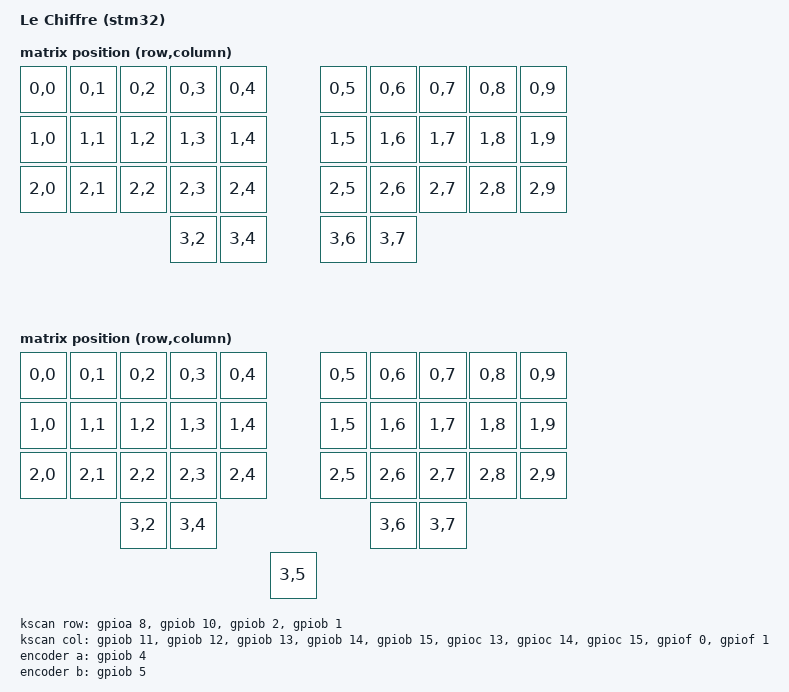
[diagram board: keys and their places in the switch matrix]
/*
 * Copyright (c) 2020 The ZMK Contributors
 *
 * SPDX-License-Identifier: MIT
 */

/dts-v1/;
#include <st/f0/stm32f072Xb.dtsi>
#include <st/f0/stm32f072v(8-b)tx-pinctrl.dtsi>

#include <dt-bindings/zmk/matrix_transform.h>

/ {
    model = "Le Chiffre (stm32)";
    compatible = "sporkus,le_chiffre_stm32", "st,stm32f072";

    chosen {
        zephyr,sram = &sram0;
        zephyr,flash = &flash0;
        zephyr,console = &cdc_acm_uart;
        zmk,kscan = &kscan;
        zmk,matrix_transform = &transform;
        zephyr,display = &oled;
        /* TODO: Enable once we support the IC for underglow
        zmk,underglow = &led_strip;
         */
    };

    transform: transform {
        compatible = "zmk,matrix-transform";
        rows = <4>;
        columns = <10>;

        map = <
        RC(0,0) RC(0,1) RC(0,2) RC(0,3) RC(0,4)     RC(0,5) RC(0,6) RC(0,7) RC(0,8) RC(0,9)
        RC(1,0) RC(1,1) RC(1,2) RC(1,3) RC(1,4)     RC(1,5) RC(1,6) RC(1,7) RC(1,8) RC(1,9)
        RC(2,0) RC(2,1) RC(2,2) RC(2,3) RC(2,4)     RC(2,5) RC(2,6) RC(2,7) RC(2,8) RC(2,9)
                        RC(3,2)     RC(3,4)             RC(3,6)     RC(3,7)
        >;
    };

    transform_with_encoder: transform_with_encoder {
        compatible = "zmk,matrix-transform";
        rows = <4>;
        columns = <10>;

        map = <
        RC(0,0) RC(0,1) RC(0,2) RC(0,3) RC(0,4)             RC(0,5) RC(0,6) RC(0,7) RC(0,8) RC(0,9)
        RC(1,0) RC(1,1) RC(1,2) RC(1,3) RC(1,4)             RC(1,5) RC(1,6) RC(1,7) RC(1,8) RC(1,9)
        RC(2,0) RC(2,1) RC(2,2) RC(2,3) RC(2,4)             RC(2,5) RC(2,6) RC(2,7) RC(2,8) RC(2,9)
                        RC(3,2)     RC(3,4)                     RC(3,6)     RC(3,7)
                                                  RC(3,5)
        >;
    };

    kscan: kscan {
        compatible = "zmk,kscan-gpio-matrix";
        label = "KSCAN";

        diode-direction = "row2col";

        col-gpios
        = <&gpiob 11 (GPIO_ACTIVE_HIGH | GPIO_PULL_DOWN)>
        , <&gpiob 12 (GPIO_ACTIVE_HIGH | GPIO_PULL_DOWN)>
        , <&gpiob 13 (GPIO_ACTIVE_HIGH | GPIO_PULL_DOWN)>
        , <&gpiob 14 (GPIO_ACTIVE_HIGH | GPIO_PULL_DOWN)>
        , <&gpiob 15 (GPIO_ACTIVE_HIGH | GPIO_PULL_DOWN)>
        , <&gpioc 13 (GPIO_ACTIVE_HIGH | GPIO_PULL_DOWN)>
        , <&gpioc 14 (GPIO_ACTIVE_HIGH | GPIO_PULL_DOWN)>
        , <&gpioc 15 (GPIO_ACTIVE_HIGH | GPIO_PULL_DOWN)>
        , <&gpiof 0  (GPIO_ACTIVE_HIGH | GPIO_PULL_DOWN)>
        , <&gpiof 1  (GPIO_ACTIVE_HIGH | GPIO_PULL_DOWN)>
        ;
        row-gpios
        = <&gpioa 8  (GPIO_ACTIVE_HIGH | GPIO_PULL_DOWN)>
        , <&gpiob 10 (GPIO_ACTIVE_HIGH | GPIO_PULL_DOWN)>
        , <&gpiob 2 (GPIO_ACTIVE_HIGH | GPIO_PULL_DOWN)>
        , <&gpiob 1 (GPIO_ACTIVE_HIGH | GPIO_PULL_DOWN)>
        ;
    };

    encoder: encoder {
        compatible = "alps,ec11";
        label = "ENCODER";
        a-gpios = <&gpiob 4 (GPIO_ACTIVE_HIGH | GPIO_PULL_UP)>;
        b-gpios = <&gpiob 5 (GPIO_ACTIVE_HIGH | GPIO_PULL_UP)>;
	steps = <30>;
        status = "disabled";
    };

    sensors: sensors {
        compatible = "zmk,keymap-sensors";
        status = "disabled";
        sensors = <&encoder>;

	triggers-per-rotation = <15>;
    };
};

&i2c1 {
    pinctrl-0 = <&i2c1_scl_pb6 &i2c1_sda_pb7>;
    pinctrl-names = "default";
    status = "okay";
    clock-frequency = <I2C_BITRATE_FAST>;

    oled: ssd1306@3c {
        compatible = "solomon,ssd1306fb";
        reg = <0x3c>;
        label = "DISPLAY";
        width = <128>;
        height = <32>;
        segment-offset = <0>;
        page-offset = <0>;
        display-offset = <0>;
        multiplex-ratio = <31>;
        segment-remap;
        com-invdir;
        com-sequential;
        prechargep = <0x22>;
    };
};

&usb {
    status = "okay";
    cdc_acm_uart: cdc_acm_uart {
        compatible = "zephyr,cdc-acm-uart";
        label = "CDC_ACM_0";
    };
};

&clk_hsi {
    status = "okay";
};

&pll {
    prediv = <1>;
    mul = <6>;
    clocks = <&clk_hsi>;
    status = "okay";
};

&rcc {
    clocks = <&pll>;
    clock-frequency = <DT_FREQ_M(48)>;
    ahb-prescaler = <1>;
    apb1-prescaler = <1>;
};


&rtc {
    status = "okay";
};

&flash0 {
    /*
     * For more information, see:
     * http: //docs.zephyrproject.org/latest/guides/dts/index.html#flash-partitions
     */
    partitions {
        compatible = "fixed-partitions";
        #address-cells = <1>;
        #size-cells = <1>;

        /* Set 6Kb of storage at the end of the 128Kb of flash */
        storage_partition: partition@3e800 {
            label = "storage";
            reg = <0x0001e800 0x00001800>;
        };
    };
};
